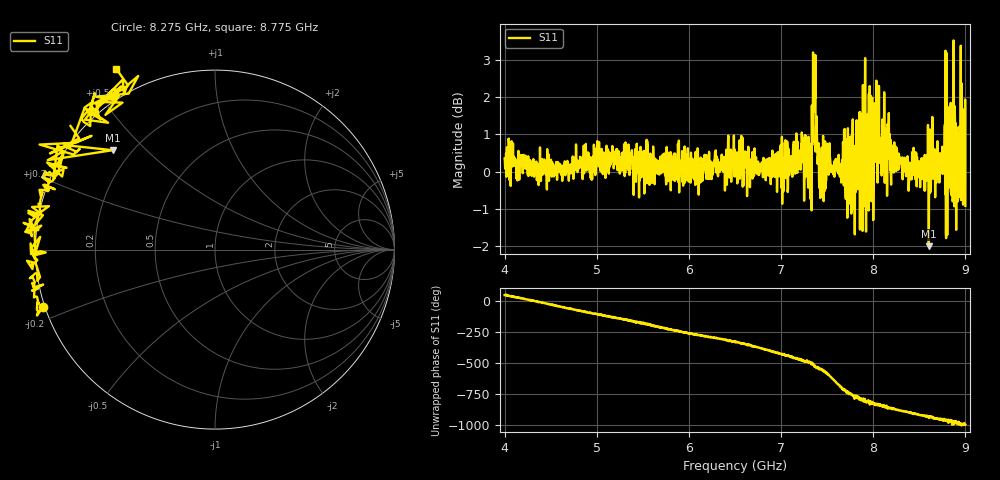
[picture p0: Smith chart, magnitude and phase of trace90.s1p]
! Created with skrf 1.8.0 (http://scikit-rf.org).
# Hz S RI R 50.0
!freq ReS11 ImS11
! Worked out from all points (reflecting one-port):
!   1601 points, 4 GHz to 9 GHz, reference 50 ohm
!   lowest |S11| = -2.0 dB at 8.603 GHz (marker M1), VSWR 8.74, Z = 6.65 + j20 ohm
!   phase of S11 starts at 50 deg and turns -1047 deg over the sweep
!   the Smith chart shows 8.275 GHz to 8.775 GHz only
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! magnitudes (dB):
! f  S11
! 4 GHz  0.4
! 4.625 GHz  -0.2
! 5.25 GHz  0.0
! 5.875 GHz  0.3
! 6.5 GHz  0.1
! 7.125 GHz  0.3
! 7.244 GHz  0.4
! 7.306 GHz  0.3
! 7.359 GHz  2.0
! 7.372 GHz  3.1
! 7.4 GHz  0.4
! 7.438 GHz  0.1
! 7.509 GHz  0.3
! 7.75 GHz  0.4
! 7.788 GHz  -0.4
! 7.828 GHz  0.7
! 7.881 GHz  -0.2
! 7.928 GHz  0.4
! 7.981 GHz  -0.8
! 8.031 GHz  1.3
! 8.375 GHz  0.1
! 8.603 GHz  -2.0
! 8.656 GHz  0.6
! 8.766 GHz  0.7
! 8.819 GHz  0.5
! 8.919 GHz  -0.2
! 8.972 GHz  0.0
! 9 GHz  -0.9
